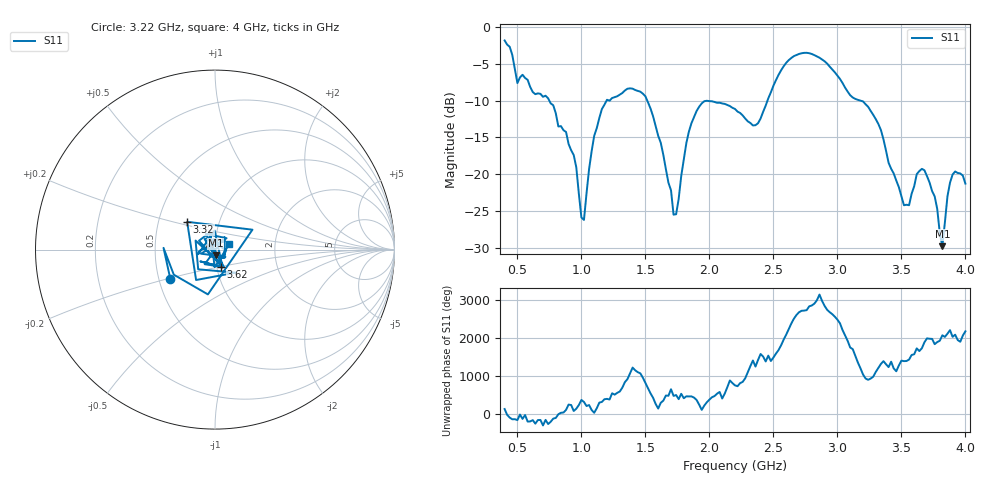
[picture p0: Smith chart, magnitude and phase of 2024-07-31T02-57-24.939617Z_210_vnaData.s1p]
!Created with skrf (http://scikit-rf.org).
# Hz S RI R 50.0
!freq ReS11 ImS11
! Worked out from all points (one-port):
!   181 points, 400 MHz to 4 GHz, reference 50 ohm
!   lowest |S11| = -29.8 dB at 3.82 GHz (marker M1), VSWR 1.07, Z = 50.2 - j3.25 ohm
!   |S11| at or under -10 dB: 748.7 MHz to 1.197 GHz (448.3 MHz wide, 46.1 % of centre); 1.514 GHz to 2.454 GHz (939.7 MHz wide, 47.4 % of centre); 3.179 GHz to end of sweep (the widest 3 of 4)
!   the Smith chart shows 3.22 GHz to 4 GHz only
!   S11 on the Smith chart (normalised r, x): 3.22 GHz: 0.57, -0.21; 3.32 GHz: 0.70, +0.23; 3.62 GHz: 1.05, -0.20; 4 GHz: 1.17, +0.07
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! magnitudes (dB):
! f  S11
! 400 MHz  -1.8
! 500 MHz  -7.6
! 740 MHz  -9.7
! 860 MHz  -14.0
! 940 MHz  -17.4
! 1.02 GHz  -26.2
! 1.1 GHz  -14.8
! 1.2 GHz  -9.9
! 1.3 GHz  -9.2
! 1.5 GHz  -9.4
! 1.62 GHz  -15.7
! 1.72 GHz  -25.5
! 1.76 GHz  -23.4
! 1.82 GHz  -15.8
! 1.92 GHz  -10.8
! 2.2 GHz  -11.1
! 2.38 GHz  -13.1
! 2.66 GHz  -4.0
! 2.88 GHz  -4.4
! 3.1 GHz  -9.3
! 3.22 GHz  -10.5
! 3.32 GHz  -13.2
! 3.56 GHz  -24.2
! 3.62 GHz  -20.0
! 3.76 GHz  -23.0
! 3.82 GHz  -29.8
! 3.9 GHz  -20.0
! 4 GHz  -21.3
